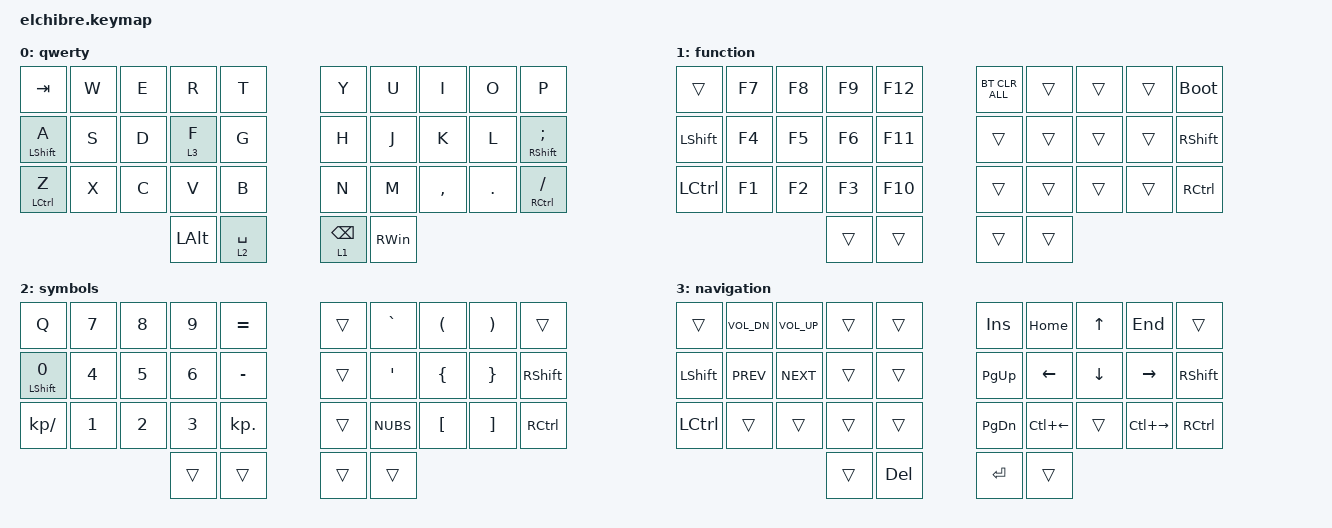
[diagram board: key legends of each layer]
#include <behaviors.dtsi>
#include <dt-bindings/zmk/keys.h>
// THIS KEYMAP WILL BE OVERRIDDEN BY THE KEYMAP IN THE ZMK-CONFIG
/ {
    keymap {
        compatible = "zmk,keymap";

       qwerty {
            bindings = <
                &kp TAB      &kp W  &kp E  &kp R    &kp T     &kp Y &kp U &kp I     &kp O      &kp P
                &mt LSHIFT A &kp S  &kp D  &lt 3 F  &kp G     &kp H &kp J &kp K     &kp L      &mt RSHIFT SEMI
                &mt LCTRL Z  &kp X  &kp C  &kp V    &kp B     &kp N &kp M &kp COMMA &kp PERIOD &mt RCTRL SLASH
                             &kp LALT         &lt 2 SPACE     &lt 1 BACKSPACE       &kp RWIN
            >;
        };

        function {
            bindings = <
                &trans    &kp F7 &kp F8 &kp F9 &kp F12          &bt BT_CLR_ALL &trans &trans &trans &bootloader
                &kp LSHFT &kp F4 &kp F5 &kp F6 &kp F11          &trans &trans &trans &trans &kp RSHIFT
                &kp LCTRL &kp F1 &kp F2 &kp F3 &kp F10          &trans &trans &trans &trans &kp RCTRL
                              &trans         &trans             &trans         &trans
            >;
        };

        symbols {
            bindings = <
                &kp Q         &kp N7 &kp N8 &kp N9 &kp EQUAL       &trans &kp GRAVE &kp LPAR &kp RPAR &trans
                &mt LSHIFT N0 &kp N4 &kp N5 &kp N6 &kp MINUS       &trans &kp SQT   &kp LBRC &kp RBRC &kp RSHIFT
                &kp KP_SLASH  &kp N1 &kp N2 &kp N3 &kp KP_DOT      &trans &kp NUBS  &kp LBKT &kp RBKT &kp RCTRL
                                       &trans          &trans      &trans   &trans
            >;
        };

        navigation {
            bindings = <
                &trans    &kp C_VOL_DN &kp C_VOL_UP &trans &trans          &kp INS   &kp HOME     &kp UP   &kp END   &trans
                &kp LSHFT &kp C_PREV   &kp C_NEXT   &trans &trans          &kp PG_UP &kp LEFT     &kp DOWN &kp RIGHT &kp RSHFT
                &kp LCTRL &trans       &trans       &trans &trans          &kp PG_DN &kp LC(LEFT) &trans   &kp LC(RIGHT)    &kp RCTRL
                                       &trans              &kp DEL         &kp ENTER    &trans
            >;
        };
    };
};
